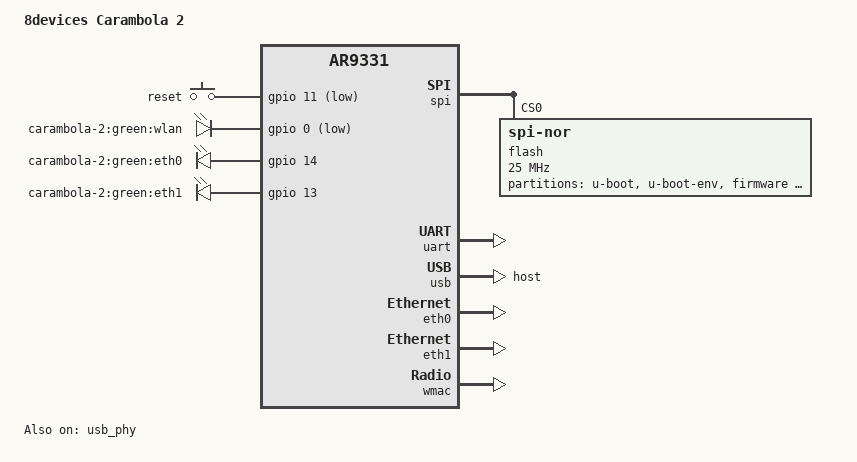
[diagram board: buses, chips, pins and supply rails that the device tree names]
// SPDX-License-Identifier: GPL-2.0-or-later OR MIT
/dts-v1/;

#include <dt-bindings/gpio/gpio.h>
#include <dt-bindings/input/input.h>

#include "ar9331.dtsi"

/ {
	compatible = "8dev,carambola-2", "qca,ar9331";
	model = "8devices Carambola 2";

	aliases {
		serial0 = &uart;
	};

	gpio-keys-polled {
		compatible = "gpio-keys-polled";
		poll-interval = <20>;

		reset {
			label = "reset";
			linux,code = <KEY_RESTART>;
			gpios = <&gpio 11 GPIO_ACTIVE_LOW>;
			debounce-interval = <60>;
		};
	};

	gpio-leds {
		compatible = "gpio-leds";
		pinctrl-names = "default";
		pinctrl-0 = <&switch_led_pins>;

		wlan {
			label = "carambola-2:green:wlan";
			gpios = <&gpio 0 GPIO_ACTIVE_LOW>;
			default-state = "off";
			linux,default-trigger = "phy0tpt";
		};

		eth0 {
			label = "carambola-2:green:eth0";
			gpios = <&gpio 14 GPIO_ACTIVE_HIGH>;
		};

		eth1 {
			label = "carambola-2:green:eth1";
			gpios = <&gpio 13 GPIO_ACTIVE_HIGH>;
		};
	};
};

&spi {
	status = "okay";
	num-cs = <1>;

	flash@0 {
		compatible = "jedec,spi-nor";
		reg = <0>;
		spi-max-frequency = <25000000>;

		partitions {
			compatible = "fixed-partitions";
			#address-cells = <1>;
			#size-cells = <1>;

			partition@0 {
				reg = <0x0 0x40000>;
				label = "u-boot";
				read-only;
			};

			partition@40000 {
				reg = <0x40000 0x10000>;
				label = "u-boot-env";
				read-only;
			};

			partition@50000 {
				reg = <0x50000 0xfa0000>;
				label = "firmware";
			};

			art: partition@ff0000 {
				reg = <0xff0000 0x10000>;
				label = "art";
				read-only;
			};
		};
	};
};

&gpio {
	status = "okay";
};

&uart {
	status = "okay";
};

&usb {
	dr_mode = "host";
	status = "okay";
};

&usb_phy {
	status = "okay";
};

&eth0 {
	status = "okay";

	mtd-mac-address = <&art 0x0>;
	
	gmac-config {
		device = <&gmac>;

		switch-phy-addr-swap = <1>;
		switch-phy-swap = <1>;
	};
};

&eth1 {
	status = "okay";

	mtd-mac-address = <&art 0x6>;
};

&wmac {
	status = "okay";
	mtd-cal-data = <&art 0x1000>;
	mtd-mac-address = <&art 0x1002>;
};
